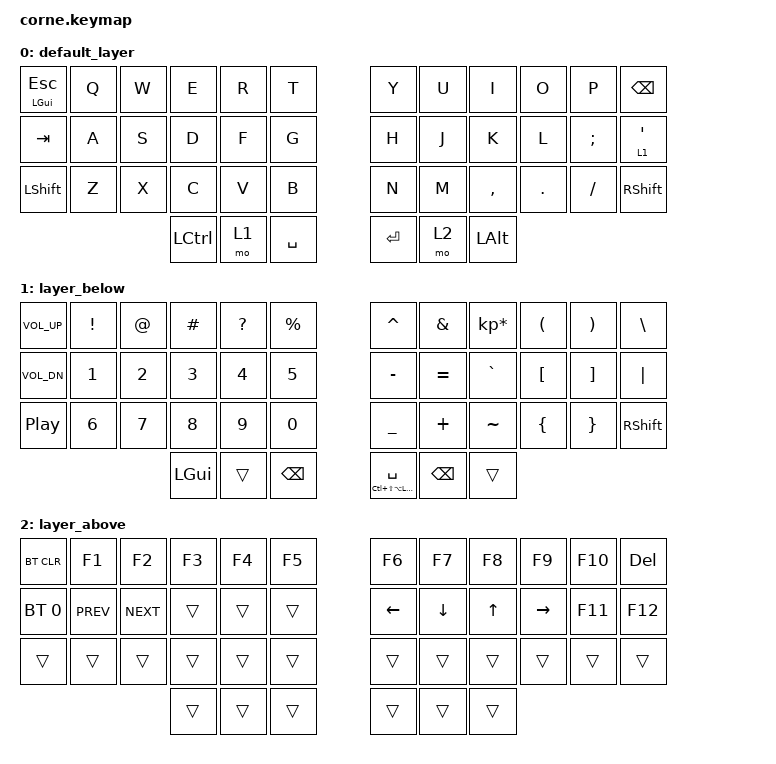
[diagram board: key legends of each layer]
/*
 * Copyright (c) 2020 The ZMK Contributors
 *
 * SPDX-License-Identifier: MIT
 */

#include <behaviors.dtsi>
#include <dt-bindings/zmk/bt.h>
#include <dt-bindings/zmk/keys.h>

/ {
    behaviors {
        tp: tap_preferred {
            compatible = "zmk,behavior-hold-tap";
            label = "TAP_PREFERRED";
            #binding-cells = <2>;
            tapping-term-ms = <150>;
            quick-tap-ms = <0>;
            flavor = "tap-preferred";
            bindings = <&kp>, <&kp>;
        };
    };

    keymap {
        compatible = "zmk,keymap";

        default_layer {
            // -----------------------------------------------------------------------------------------
            // | TAB  |  Q  |  W  |  E  |  R  |    T    |   |  Y  |  U   |  I  |  O  |  P  | ESC |
            // | CTRL |  A  |  S  |  D  |  F  |    G    |   |  H  |  J   |  K  |  L  |  ;  |  LWR/'   |
            // | SHFT |  Z  |  X  |  C  |  V  |    B    |   |  N  |  M   |  ,  |  .  |  /  | SHFT |
            //                    | GUI | LWR | ALT/ENT |   | HYPER/SPC | BKSP  | RSE |

            bindings = <
&tp LGUI ESC  &kp Q  &kp W  &kp E      &kp R  &kp T        &kp Y      &kp U  &kp I      &kp O    &kp P     &kp BACKSPACE
&kp TAB       &kp A  &kp S  &kp D      &kp F  &kp G        &kp H      &kp J  &kp K      &kp L    &kp SEMI  &lt 1 SQT
&kp LSHFT     &kp Z  &kp X  &kp C      &kp V  &kp B        &kp N      &kp M  &kp COMMA  &kp DOT  &kp FSLH  &kp RSHFT
                            &kp LCTRL  &mo 1  &kp SPACE    &kp ENTER  &mo 2  &kp LALT
            >;
        };

        layer_below {
            // -----------------------------------------------------------------------------------------
            // |      |  !  |  @  |  #  |  $  |    %     |   |  ^  |  &  |  *  |  (  |  )  |   \   |
            // |      |  1  |  2  |  3  |  4  |    5     |   |  -  |  =  |  `  |  [  |  ]  |  "|"  |
            // | SHFT |  6  |  7  |  8  |  9  |    0     |   |  _  |  +  |  ~  |  {  |  }  | RSHFT |
            //                     | GUI |     | ALT/ENT |   | HYPER/SPACE | BKSP |    |

            bindings = <
&kp C_VOL_UP  &kp EXCL  &kp AT  &kp HASH  &kp QMARK  &kp PRCNT        &kp CARET                   &kp AMPS   &kp KP_MULTIPLY  &kp LPAR  &kp RPAR  &kp BSLH
&kp C_VOL_DN  &kp N1    &kp N2  &kp N3    &kp N4     &kp N5           &kp MINUS                   &kp EQUAL  &kp GRAVE        &kp LBKT  &kp RBKT  &kp PIPE
&kp C_PP      &kp N6    &kp N7  &kp N8    &kp N9     &kp N0           &kp UNDER                   &kp PLUS   &kp TILDE        &kp LBRC  &kp RBRC  &kp RSHFT
                                &kp LGUI  &trans     &kp BACKSPACE    &tp LC(LS(LA(LGUI))) SPACE  &kp BSPC   &trans
            >;
        };

        layer_above {
            // -----------------------------------------------------------------------------------------
            // |       |  F1  |  F2  |  F3  |  F4  |  F5 |            |  F6  |  F7  |  F8  |  F9  |  F10  |   |
            // |       | Prev | Next | Vol - | Vol + | Play/Pause |   |      | LFT | DWN |  UP | RGT |     |     |
            // | BTCLR | BT1 | BT2 | BT3 | BT4 | BT5 |   |            |     |     |     |     |     |     |
            //                    |     |     |    |                  |     |     |     |

            bindings = <
&bt BT_CLR    &kp F1      &kp F2      &kp F3  &kp F4  &kp F5    &kp F6    &kp F7    &kp F8  &kp F9     &kp F10  &kp DELETE
&bt BT_SEL 0  &kp C_PREV  &kp C_NEXT  &trans  &trans  &trans    &kp LEFT  &kp DOWN  &kp UP  &kp RIGHT  &kp F11  &kp F12
&trans        &trans      &trans      &trans  &trans  &trans    &trans    &trans    &trans  &trans     &trans   &trans
                                      &trans  &trans  &trans    &trans    &trans    &trans
            >;
        };
    };
};
